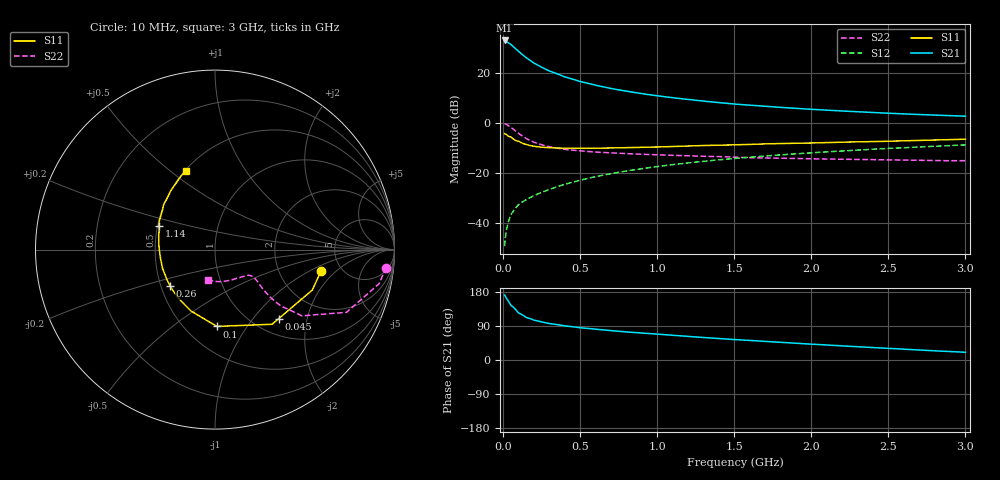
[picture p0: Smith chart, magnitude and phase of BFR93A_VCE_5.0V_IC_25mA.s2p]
! Infineon Technologies  Discrete & RF Semiconductors
! BFR93A
! VCE =  5.0 V,  IC =  25 mA
! Common Emitter S-Parameters:  Nov 2015
# GHz  S  MA  R  50
!  f  S11  S21  S12  S22
! GHz  MAG  ANG  MAG  ANG  MAG  ANG  MAG  ANG
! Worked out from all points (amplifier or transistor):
!   180 points, 10 MHz to 3 GHz, reference 50 ohm
!   highest |S21| = 32.9 dB at 10 MHz (marker M1)
!   |S21| within 3 dB of that: start of sweep to 75.4 MHz
!   unconditionally stable (mu >= 1): 391.9 MHz to 2.72 GHz
!   at 160 MHz: K = 0.74, MSG = 28.0 dB, |S12| = -30.4 dB
!   at 1.22 GHz: K = 1.07, MAG = 10.9 dB, |S12| = -15.9 dB
!   at 3 GHz: K = 0.98, MSG = 5.7 dB, |S12| = -8.9 dB
!   S11 on the Smith chart (normalised r, x): 10 MHz: 3.51, -1.31; 45 MHz: 1.29, -1.36; 100 MHz: 0.70, -0.74; 260 MHz: 0.56, -0.26; 1.14 GHz: 0.51, +0.15; 3 GHz: 0.51, +0.57
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0.01  0.6029 -11.4  44.1 171.6  0.0034 83.8  0.9575 -6.0
0.02  0.5869 -22.6  42.88 164.1  0.0067 79.8  0.9343 -11.7
0.045  0.5234 -47.2  37.59 148.2  0.0131 71.3  0.8286 -22.9
0.05  0.5237 -52.6  36.93 144.6  0.0144 70.5  0.8119 -25.5
0.1  0.428 -88.6  26.66 124.2  0.023 63.6  0.6088 -37.3
0.15  0.3673 -111.5  19.85 112.4  0.0289 63.0  0.4815 -40.6
0.2  0.3385 -127.3  15.62 105.3  0.0347 64.3  0.4072 -40.8
0.24  0.326 -136.6  13.36 101.2  0.0393 65.5  0.3698 -40.1
0.26  0.3223 -140.6  12.41 99.3  0.0416 66.1  0.3545 -39.7
0.3  0.3167 -147.0  10.84 96.2  0.0462 67.0  0.3303 -38.8
0.4  0.3104 -160.4  8.253 90.0  0.0585 68.8  0.2927 -36.8
0.5  0.3079 -170.4  6.676 85.2  0.0707 69.5  0.273 -35.8
0.52  0.3077 -171.8  6.462 84.5  0.0732 69.5  0.2701 -35.7
0.6  0.309 -177.6  5.615 81.3  0.0834 69.7  0.2586 -35.4
0.7  0.3128 176.9  4.834 77.5  0.0958 69.4  0.2491 -35.8
0.88  0.3219 167.5  3.894 71.8  0.1181 68.4  0.235 -37.6
1.02  0.328 161.8  3.388 67.4  0.1353 67.3  0.2277 -39.5
1.14  0.3381 157.2  3.061 63.9  0.1499 66.1  0.221 -41.9
1.52  0.362 145.1  2.334 53.5  0.1951 62.1  0.2036 -50.5
2.02  0.3944 131.7  1.838 41.4  0.2522 56.6  0.1895 -64.7
2.52  0.4277 120.8  1.537 30.3  0.3081 50.6  0.1804 -81.7
3  0.4679 110.2  1.349 20.4  0.3598 44.6  0.174 -102.5
